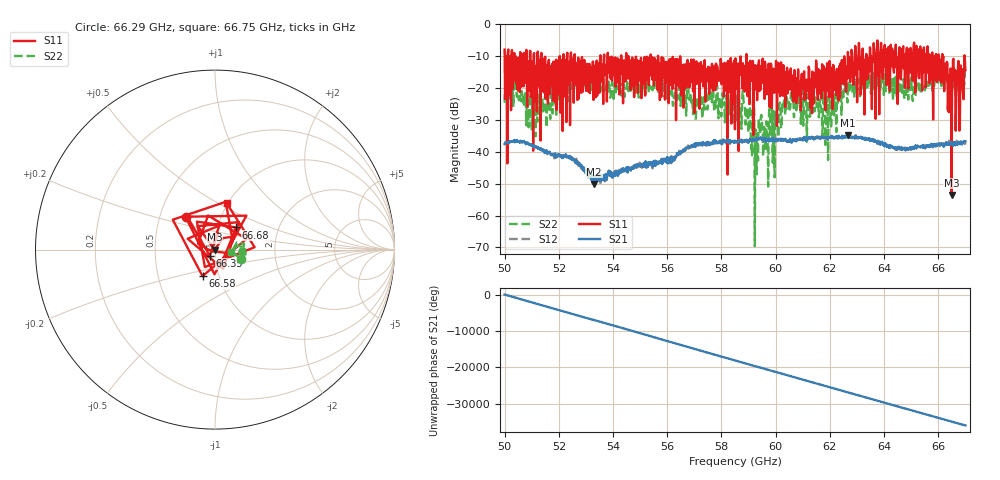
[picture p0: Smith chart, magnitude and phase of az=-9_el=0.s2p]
!Created with skrf (http://scikit-rf.org).
# GHz S RI R 50.0
!freq ReS11 ImS11 ReS21 ImS21 ReS12 ImS12 ReS22 ImS22
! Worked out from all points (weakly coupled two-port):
!   1001 points, 50 GHz to 67 GHz, reference 50 ohm
!   highest |S21| = -34.79 dB at 62.66 GHz (marker M1); lowest = -50.1 dB at 53.3 GHz (marker M2)
!   lowest |S11| = -53.6 dB at 66.49 GHz (marker M3), VSWR 1.00, Z = 49.8 - j0.107 ohm
!   |S11| at or under -10 dB: 52.59 GHz to 53.53 GHz (947.9 MHz wide, 1.79 % of centre); 55.66 GHz to 58.92 GHz (3.262 GHz wide, 5.69 % of centre); 58.93 GHz to 62.66 GHz (3.733 GHz wide, 6.14 % of centre) (the widest 3 of 62)
!   |S22| runs from -69.6 to -13.2 dB; largest |S21 - S12| = 0.0023
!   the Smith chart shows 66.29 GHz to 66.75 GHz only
!   S11 on the Smith chart (normalised r, x): 66.29 GHz: 0.68, +0.26; 66.35 GHz: 0.94, -0.06; 66.58 GHz: 0.84, -0.25; 66.68 GHz: 1.22, +0.31; 66.75 GHz: 0.99, +0.55
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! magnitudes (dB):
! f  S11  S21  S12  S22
! 50 GHz  -7.9  -37.6  -37.7  -24.6
! 50.15 GHz  -22.3  -37.2  -37.3  -20.6
! 51.07 GHz  -9.6  -37.9  -38.2  -26.1
! 52.84 GHz  -11.7  -44.8  -45.4  -19.8
! 53.3 GHz  -13.9  -50.1  -49.2  -19.1
! 55.68 GHz  -13.3  -43.3  -43.1  -21.3
! 58.5 GHz  -33.0  -36.5  -37.1  -23.3
! 59.11 GHz  -12.9  -36.1  -36.2  -36.9
! 59.32 GHz  -23.8  -36.1  -35.6  -34.4
! 59.44 GHz  -13.9  -35.6  -35.7  -33.7
! 60.34 GHz  -15.0  -36.2  -36.1  -25.5
! 61.34 GHz  -27.9  -35.6  -35.5  -26.9
! 61.88 GHz  -15.4  -35.7  -35.9  -23.8
! 62.66 GHz  -8.7  -34.8  -35.0  -20.2
! 64.18 GHz  -11.6  -38.7  -38.0  -17.6
! 66.29 GHz  -12.3  -37.3  -37.6  -16.3
! 66.35 GHz  -27.0  -37.7  -37.2  -15.4
! 66.49 GHz  -53.6  -37.6  -37.2  -15.2
! 66.58 GHz  -15.7  -37.6  -37.0  -15.8
! 66.68 GHz  -15.4  -37.2  -36.6  -17.2
! 66.75 GHz  -11.5  -36.8  -37.3  -20.8
! 67 GHz  -14.4  -36.7  -37.7  -14.2
